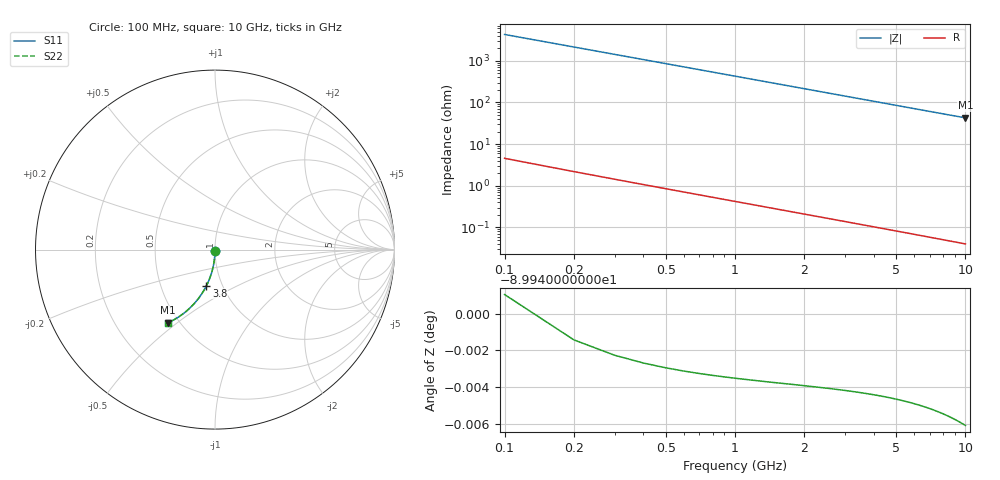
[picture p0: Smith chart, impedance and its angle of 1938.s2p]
# Hz S RI R 50.00
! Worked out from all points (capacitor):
!   100 points, 100 MHz to 10 GHz, reference 50 ohm
!   read as one part in shunt: C = 373 fF near 100 MHz
!   lowest |Z| = 42.6 ohm at 10 GHz (marker M1)
!   S11 on the Smith chart (normalised r, x): 100 MHz: 1.00, -0.01; 3.8 GHz: 0.84, -0.35; 10 GHz: 0.43, -0.46
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1e8  2.67e-05 -0.00554  0.9999 -0.00617  0.9999 -0.00617  2.67e-05 -0.00554
2e8  -8.12e-05 -0.0111  0.9998 -0.0123  0.9998 -0.0123  -8.12e-05 -0.0111
3e8  -0.000257 -0.0166  0.9996 -0.0185  0.9996 -0.0185  -0.000257 -0.0166
4e8  -0.000502 -0.0222  0.9994 -0.0247  0.9994 -0.0247  -0.000502 -0.0222
5e8  -0.000815 -0.0277  0.999 -0.0308  0.999 -0.0308  -0.000815 -0.0277
6e8  -0.0012 -0.0332  0.9987 -0.037  0.9987 -0.037  -0.0012 -0.0332
7e8  -0.00165 -0.0388  0.9982 -0.0431  0.9982 -0.0431  -0.00165 -0.0388
8e8  -0.00216 -0.0443  0.9977 -0.0492  0.9977 -0.0492  -0.00216 -0.0443
9e8  -0.00275 -0.0498  0.9971 -0.0554  0.9971 -0.0554  -0.00275 -0.0498
1.1e9  -0.00412 -0.0608  0.9957 -0.0676  0.9957 -0.0676  -0.00412 -0.0608
1.4e9  -0.00668 -0.0772  0.9931 -0.0859  0.9931 -0.0859  -0.00668 -0.0772
1.8e9  -0.011 -0.0988  0.9888 -0.11  0.9888 -0.11  -0.011 -0.0988
2.1e9  -0.015 -0.1148  0.9848 -0.1279  0.9848 -0.1279  -0.015 -0.1148
2.5e9  -0.0211 -0.1359  0.9786 -0.1515  0.9786 -0.1515  -0.0211 -0.1359
2.9e9  -0.0282 -0.1566  0.9714 -0.1747  0.9714 -0.1747  -0.0282 -0.1566
3.4e9  -0.0385 -0.1817  0.9611 -0.2029  0.9611 -0.2029  -0.0385 -0.1817
3.8e9  -0.0477 -0.2012  0.9519 -0.2249  0.9519 -0.2249  -0.0477 -0.2012
4.4e9  -0.063 -0.2292  0.9364 -0.2568  0.9364 -0.2568  -0.063 -0.2292
5.1e9  -0.0831 -0.26  0.9162 -0.2921  0.9162 -0.2921  -0.0831 -0.26
6.7e9  -0.136 -0.3217  0.8629 -0.3641  0.8629 -0.3641  -0.136 -0.3217
8.4e9  -0.1995 -0.373  0.7989 -0.4264  0.7989 -0.4264  -0.1995 -0.373
1e10  -0.2622 -0.4079  0.7356 -0.472  0.7356 -0.472  -0.2622 -0.4079
